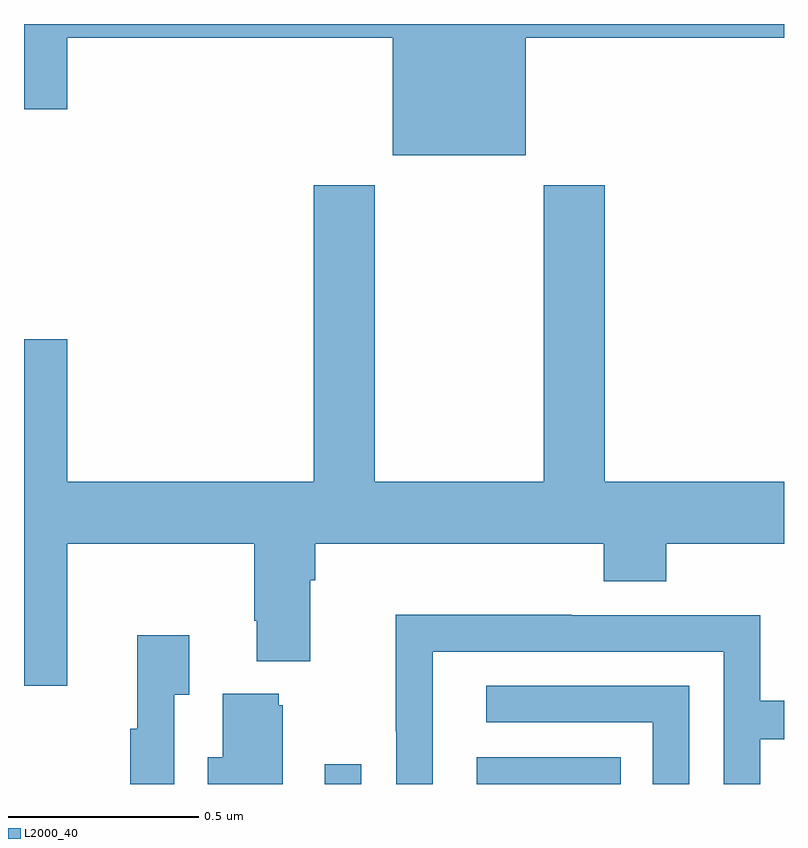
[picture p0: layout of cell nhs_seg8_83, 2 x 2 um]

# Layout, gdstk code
import gdstk
lib = gdstk.Library(unit=1e-6, precision=1e-09)
def R(c, l, rs):  # rectangles x0, y0, x1, y1
    for r in rs: c.add(gdstk.rectangle(r[:2], r[2:], *l))
def P(c, l, *ps):  # polygons
    for p in ps: c.add(gdstk.Polygon(p, *l))
L2000_40 = (2000, 40)

nhs_seg8_83 = lib.new_cell('nhs_seg8_83')
R(nhs_seg8_83, L2000_40, [(112.791,1083.9,112.887,1083.952), (113.192,1083.9,113.57,1083.97)])
P(nhs_seg8_83, L2000_40, [(113.32,1085.864),(114,1085.864),(114,1085.9),(112,1085.9),(112,1085.676),(112.114,1085.676),(112.114,1085.864),(112.97,1085.864),(112.97,1085.555),(113.32,1085.555)],
  [(112.114,1084.532),(112.606,1084.532),(112.606,1084.33),(112.613,1084.33),(112.613,1084.223),(112.753,1084.223),(112.753,1084.436),(112.766,1084.436),(112.766,1084.532),(113.525,1084.532),(113.525,1084.433),(113.69,1084.433),(113.69,1084.532),(114,1084.532),(114,1084.696),(113.528,1084.696),(113.528,1085.476),(113.368,1085.476),(113.368,1084.696),(112.923,1084.696),(112.923,1085.476),(112.763,1085.476),(112.763,1084.696),(112.114,1084.696),(112.114,1085.071),(112,1085.071),(112,1084.158),(112.114,1084.158)],
  [(113.076,1084.248),(113.841,1084.248),(113.841,1083.9),(113.937,1083.9),(113.937,1084.018),(114,1084.018),(114,1084.119),(113.937,1084.119),(113.937,1084.344),(113.441,1084.344),(113.441,1084.346),(112.978,1084.346),(112.978,1084.039),(112.98,1084.039),(112.98,1083.9),(113.076,1083.9)],
  [(112.395,1084.135),(112.435,1084.135),(112.435,1084.291),(112.298,1084.291),(112.298,1084.046),(112.279,1084.046),(112.279,1083.9),(112.395,1083.9)],
  [(113.751,1084.158),(113.217,1084.158),(113.217,1084.062),(113.655,1084.062),(113.655,1083.9),(113.751,1083.9)],
  [(112.681,1084.107),(112.67,1084.107),(112.67,1084.138),(112.523,1084.138),(112.523,1083.97),(112.484,1083.97),(112.484,1083.9),(112.681,1083.9)])

lib.write_gds('nhs_seg8_83.gds')
